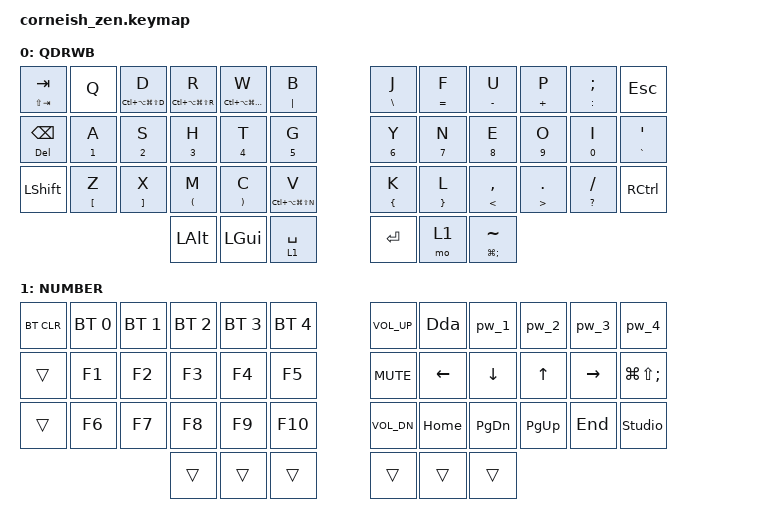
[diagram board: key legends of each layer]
#include <behaviors.dtsi>
#include <dt-bindings/zmk/keys.h>
#include <dt-bindings/zmk/bt.h>

/ {
    chosen {
        zmk,physical-layout = &foostan_corne_6col_layout;
        // zmk,physical-layout = &foostan_corne_5col_layout;
    };
};

/ {
    behaviors {
        gqt: global-quick-tap {
            compatible = "zmk,behavior-hold-tap";
            label = "GLOBAL_QUICK_TAP";
            #binding-cells = <2>;
            flavor = "tap-preferred";
            tapping-term-ms = <200>;
            quick-tap-ms = <125>;
            global-quick-tap;
            bindings = <&kp>, <&kp>;
        };
    };

    macros {
        Dda: Dda {
            compatible = "zmk,behavior-macro";
            #binding-cells = <0>;
            bindings = <&kp D &kp D &kp A &kp SPACE>;
            label = "DDA";
        };

        pw_1: pw_1 {
            compatible = "zmk,behavior-macro";
            #binding-cells = <0>;
            bindings = <&kp P &kp W &kp UNDER &kp N1>;
            label = "PW_1";
        };

        pw_2: pw_2 {
            compatible = "zmk,behavior-macro";
            #binding-cells = <0>;
            bindings = <&kp P &kp W &kp UNDER &kp N2>;
            label = "PW_2";
        };

        pw_3: pw_3 {
            compatible = "zmk,behavior-macro";
            #binding-cells = <0>;
            bindings = <&kp P &kp W &kp UNDER &kp N3>;
            label = "PW_3";
        };

        pw_4: pw_4 {
            compatible = "zmk,behavior-macro";
            #binding-cells = <0>;
            bindings = <&kp N5 &kp N4 &kp N3 &kp N2 &kp N1 &kp LS(N1) &kp S &kp H &kp T &kp LS(G)>;
            label = "PW_4";
        };
    };

    keymap {
        compatible = "zmk,keymap";

        default_layer {
            label = "QDRWB";

            // -----------------------------------------------------------------------------------------
            // | TAB  |  Q  |  D  |  R  |  W  |  B  |   |  J  |  F   |  U  |  P  |  ;  | ESC   |
            // | BSPC |  A  |  S  |  H  |  T  |  G  |   |  Y  |  N   |  E  |  O  |  I  |  '    |
            // | SHFT |  Z  |  X  |  M  |  C  |  V  |   |  K  |  L   |  ,  |  .  |  /  | CTRL  |
            //                    | ALT | GUI | SPC |   | ENT | LWR  |  ~  |

            bindings = <
&gqt LS(TAB) TAB  &kp Q        &gqt LC(LA(LG(LS(D)))) D  &gqt LC(LA(LG(LS(R)))) R  &gqt LC(LA(LG(LS(W)))) W  &gqt PIPE B                 &gqt BSLH J  &gqt EQUAL F  &gqt MINUS U         &gqt PLUS P  &gqt COLON SEMI  &kp ESC
&gqt DEL BSPC     &gqt N1 A    &gqt N2 S                 &gqt N3 H                 &gqt N4 T                 &gqt N5 G                   &gqt N6 Y    &gqt N7 N     &gqt N8 E            &gqt N9 O    &gqt N0 I        &gqt GRAVE SQT
&kp LSHFT         &gqt LBKT Z  &gqt RBKT X               &gqt LPAR M               &gqt RPAR C               &gqt LC(LA(LG(LS(N)))) V    &gqt LBRC K  &gqt RBRC L   &gqt LT COMMA        &gqt GT DOT  &gqt QMARK FSLH  &kp RCTRL
                                                         &kp LALT                  &kp LGUI                  &lt 1 SPACE                 &kp RET      &mo 1         &gqt LG(SEMI) TILDE
            >;
        };

        lower_layer {
            label = "NUMBER";

            // -----------------------------------------------------------------------------------------
            // | BTCLR| BT1 | BT2 | BT3 | BT4 | BT5 |   | Vol+ | DDa  | &pw_1 | &pw_4 | &pw_3 | &pw_4 |
            // |      | F1  | F2  | F3  | F4  | F5  |   | Mute | LFT  | DWN   |  UP   | RGT   |       |
            // |      | F6  | F7  | F8  | F9  | F10 |   | Vol- | HOME | PG_DN | PG_UP | END   |       |
            //                    |     |     |     |   |      |      |       |

            bindings = <
&bt BT_CLR  &bt BT_SEL 0  &bt BT_SEL 1  &bt BT_SEL 2  &bt BT_SEL 3  &bt BT_SEL 4    &kp C_VOLUME_UP  &Dda      &pw_1      &pw_2      &pw_3      &pw_4
&trans      &kp F1        &kp F2        &kp F3        &kp F4        &kp F5          &kp K_MUTE       &kp LEFT  &kp DOWN   &kp UP     &kp RIGHT  &kp LG(LS(SEMI))
&trans      &kp F6        &kp F7        &kp F8        &kp F9        &kp F10         &kp C_VOL_DN     &kp HOME  &kp PG_DN  &kp PG_UP  &kp END    &studio_unlock
                                        &trans        &trans        &trans          &trans           &trans    &trans
            >;        };

    };
};
